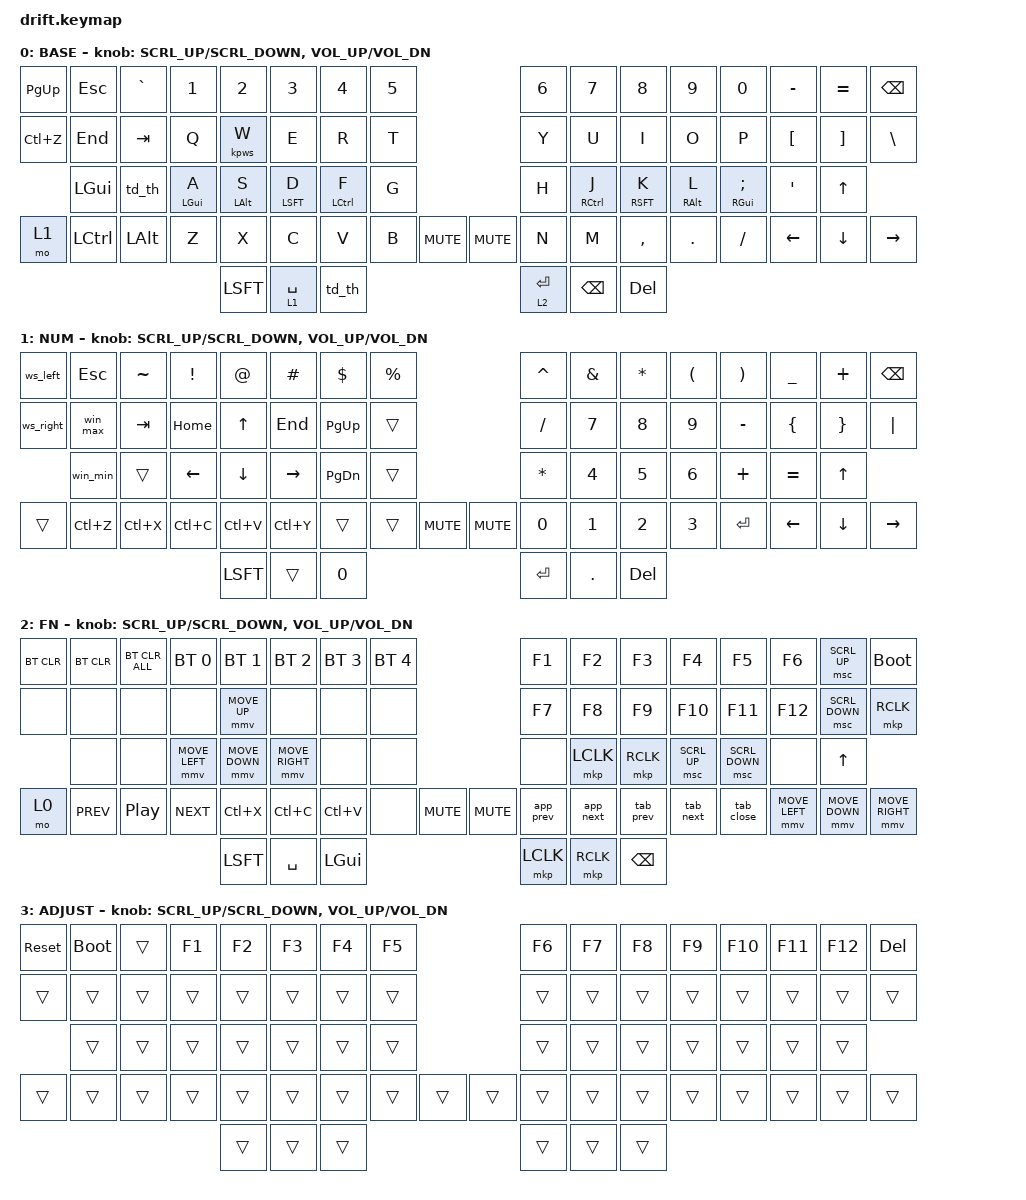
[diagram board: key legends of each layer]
// Copyright (c) 2025 Timception
// SPDX-License-Identifier: MIT

// ─────────────────────────────────────────────────────────────────────────────
//  DRIFT KEYMAP  —  Efficiency Edition  (EN/TH · KDE Plasma · Linux)
//
//  ╔═══════════════════════════════════════════════════════════════════════╗
//  ║                    วิธีจำง่ายๆ — 3 Layer 3 หลัก                      ║
//  ╠═══════════════════════════════════════════════════════════════════════╣
//  ║                                                                     ║
//  ║  BASE   = พิมพ์ปกติ + ลูกศรขวาล่าง + สลับไทย/EN ที่ CAPS          ║
//  ║  LOWER  = "ตัวเลข + เลื่อน"  (Space ค้าง)                          ║
//  ║          ↳ มือซ้าย = ลูกศร/Home/End  ·  มือขวา = Numpad            ║
//  ║  RAISE  = "F-keys + เมาส์"  (Enter ค้าง)                           ║
//  ║          ↳ มือซ้าย = เมาส์/BT  ·  มือขวา = F1-F12                 ║
//  ║                                                                     ║
//  ║  จำสั้นๆ:  Space=ตัวเลข  ·  Enter=Function  ·  CAPS=ไทย           ║
//  ╚═══════════════════════════════════════════════════════════════════════╝
//
//  HOME ROW MODS  (กดค้าง = modifier, แตะ = ตัวอักษร)
//  ──────────────
//  ซ้าย:  A=Super  S=Alt  D=Shift  F=Ctrl
//  ขวา:   J=Ctrl   K=Shift L=Alt   ;=Super
//  → ไม่ต้องเอื้อมนิ้วก้อยไปมุมแป้นอีกต่อไป
//
//  THAI TOGGLE  (KDE Plasma)
//  ────────────
//  ตำแหน่ง CAPS (row-2 col-2):
//    กด 1 ครั้ง = สลับ ไทย↔EN  (ส่ง Meta+Space — KDE default)
//    กด 2 ครั้ง = CapsLock     (เผื่อต้องการพิมพ์ตัวใหญ่)
//  ซ้ำที่ left outer thumb เพื่อกดนิ้วโป้งมือเดียว
//
//  ⚠ ถ้าใช้ fcitx5 ให้เปลี่ยน macro th จาก LG(SPACE) เป็น LC(SPACE)
//
//  THUMB CLUSTER
//  ─────────────
//  ซ้าย:  Shift  ·  [Space / LOWER]  ·  Thai
//  ขวา:  [Enter / RAISE]  ·  Bspc  ·  Del
//
//  WORKSPACE NAV  (LOWER layer, far-left col)
//  ──────────────
//  Meta+← / Meta+→ = สลับ desktop ซ้าย/ขวา (KDE default)
//  Meta+↑ / Meta+↓ = maximize / minimize  
//
//  Key-position reference (0-based)
//  ─────────────────────────────────
//  Row 0 : 0-15   (8 left incl. far-left extra col  +  8 right)
//  Row 1 : 16-31  (8 + 8)
//  Row 2 : 32-45  (7 + 7 — no far-left key on this row)
//  Row 3 : 46-61  (8 + 8)
//  Thumbs: 62-67  (3 left + 3 right)
//
//  Left side keys  : 0-7  16-23  32-38  46-53  62-64
//  Right side keys : 8-15 24-31  39-45  54-61  65-67
// ─────────────────────────────────────────────────────────────────────────────

#define ZMK_POINTING_DEFAULT_MOVE_VAL 1200
#define ZMK_POINTING_DEFAULT_SCRL_VAL 120

#include <dt-bindings/zmk/mouse.h>
#include <behaviors.dtsi>
#include <dt-bindings/zmk/bt.h>
#include <dt-bindings/zmk/keys.h>
#include <dt-bindings/zmk/pointing.h>

#define BASE   0
#define LOWER  1
#define RAISE  2
#define ADJUST 3

// ── Per-side key sets for home-row mod trigger guards ─────────────────────────
#define KEYS_L 0 1 2 3 4 5 6 7 16 17 18 19 20 21 22 23 32 33 34 35 36 37 38 46 47 48 49 50 51 52 53
#define KEYS_R 8 9 10 11 12 13 14 15 24 25 26 27 28 29 30 31 39 40 41 42 43 44 45 54 55 56 57 58 59 60 61
#define KEYS_T 62 63 64 65 66 67

/ {
    conditional_layers {
        compatible = "zmk,conditional-layers";

        tri_layer {
            if-layers = <1 2>;
            then-layer = <3>;
        };
    };

    // ── Macros ───────────────────────────────────────────────────────────────
    macros {
        // Thai/EN toggle — Meta+Space (KDE Plasma default)
        // ┌──────────────────────────────────────────────────────────────┐
        // │  ถ้าใช้ fcitx5  → เปลี่ยน LG(SPACE) เป็น LC(SPACE)        │
        // │  ถ้าใช้ ibus    → เปลี่ยน LG(SPACE) เป็น LC(SPACE)        │
        // │  ถ้าตั้ง custom → ใส่ shortcut ที่ตรงกับ Settings          │
        // └──────────────────────────────────────────────────────────────┘
        th: thai_toggle {
            compatible = "zmk,behavior-macro";
            #binding-cells = <0>;
            bindings = <&macro_tap &kp LG(SPACE)>;
        };

        // KDE workspace navigation macros
        ws_left: workspace_left {
            compatible = "zmk,behavior-macro";
            #binding-cells = <0>;
            bindings = <&macro_tap &kp LG(LEFT)>;
        };
        ws_right: workspace_right {
            compatible = "zmk,behavior-macro";
            #binding-cells = <0>;
            bindings = <&macro_tap &kp LG(RIGHT)>;
        };
        win_max: window_maximize {
            compatible = "zmk,behavior-macro";
            #binding-cells = <0>;
            bindings = <&macro_tap &kp LG(UP)>;
        };
        win_min: window_minimize {
            compatible = "zmk,behavior-macro";
            #binding-cells = <0>;
            bindings = <&macro_tap &kp LG(DOWN)>;
        };

        // Keyboard-first navigation helpers (mouse-free workflow)
        app_next: app_switch_next {
            compatible = "zmk,behavior-macro";
            #binding-cells = <0>;
            bindings = <&macro_tap &kp LA(TAB)>;
        };
        app_prev: app_switch_prev {
            compatible = "zmk,behavior-macro";
            #binding-cells = <0>;
            bindings = <&macro_tap &kp LA(LS(TAB))>;
        };
        tab_next: tab_switch_next {
            compatible = "zmk,behavior-macro";
            #binding-cells = <0>;
            bindings = <&macro_tap &kp LC(TAB)>;
        };
        tab_prev: tab_switch_prev {
            compatible = "zmk,behavior-macro";
            #binding-cells = <0>;
            bindings = <&macro_tap &kp LC(LS(TAB))>;
        };
        tab_close: tab_close {
            compatible = "zmk,behavior-macro";
            #binding-cells = <0>;
            bindings = <&macro_tap &kp LC(W)>;
        };
    };

    behaviors {
        enc_scroll: enc_scroll {
            compatible = "zmk,behavior-sensor-rotate-var";
            #sensor-binding-cells = <2>;
            bindings = <&msc>, <&msc>;
            tap-ms = <20>;
        };

        /* WASD gaming behaviour — kept from original */
        kpad: key_lip_a_d {
            compatible = "zmk,behavior-key-press-lip";
            #binding-cells = <1>;
            keycodes = <A D>;
        };

        kpws: key_lip_w_s {
            compatible = "zmk,behavior-key-press-lip";
            #binding-cells = <1>;
            keycodes = <W S>;
        };

        // ── Home-row mod LEFT ─────────────────────────────────────────────
        //  Fires modifier ONLY when opposite-hand key is pressed.
        //  Fast same-hand rolls ("as", "sd", "df") → ตัวอักษรปกติ
        //  Cross-hand combos (A + J) → GUI + Ctrl
        //  Tuned for smoother Thai/EN mixed typing (less accidental holds).
        hml: homerow_mod_left {
            compatible = "zmk,behavior-hold-tap";
            #binding-cells = <2>;
            flavor = "balanced";
            tapping-term-ms = <240>;
            quick-tap-ms = <175>;
            require-prior-idle-ms = <130>;
            bindings = <&kp>, <&kp>;
            hold-trigger-key-positions = <KEYS_R KEYS_T>;
            hold-trigger-on-release;
        };

        // ── Home-row mod RIGHT ────────────────────────────────────────────
        hmr: homerow_mod_right {
            compatible = "zmk,behavior-hold-tap";
            #binding-cells = <2>;
            flavor = "balanced";
            tapping-term-ms = <240>;
            quick-tap-ms = <175>;
            require-prior-idle-ms = <130>;
            bindings = <&kp>, <&kp>;
            hold-trigger-key-positions = <KEYS_L KEYS_T>;
            hold-trigger-on-release;
        };

        // ── Balanced layer-tap for thumb keys ─────────────────────────────
        ltb: layer_tap_balanced {
            compatible = "zmk,behavior-hold-tap";
            #binding-cells = <2>;
            flavor = "balanced";
            tapping-term-ms = <190>;
            quick-tap-ms = <175>;
            bindings = <&mo>, <&kp>;
        };

        // ── Tap-dance: Thai toggle ────────────────────────────────────────
        //  กด 1 ครั้ง = สลับภาษา (Meta+Space)
        //  กด 2 ครั้ง = CapsLock  (พิมพ์ตัวใหญ่)
        td_th: tap_dance_thai {
            compatible = "zmk,behavior-tap-dance";
            #binding-cells = <0>;
            tapping-term-ms = <250>;
            bindings = <&th>, <&kp CAPS>;
        };
    };

    combos {
        compatible = "zmk,combos";

        // CapsWord: press both SHIFT positions (D=36 and K=41) simultaneously
        caps_word_combo {
            bindings = <&caps_word>;
            key-positions = <36 41>;
            timeout-ms = <50>;
        };
    };

    keymap {
        compatible = "zmk,keymap";

        // ╔══════════════════════════════════════════════════════════════════╗
        // ║  LAYER 0 — BASE  "พิมพ์ปกติ"                                    ║
        // ║                                                                  ║
        // ║  CAPS position → กด1ครั้ง=สลับไทย  กด2ครั้ง=CapsLock          ║
        // ║  Home-row mods: A=⌘  S=⌥  D=⇧  F=⌃  │  J=⌃  K=⇧  L=⌥  ;=⌘   ║
        // ║  Thumbs: Shift · [Space/LOWER] · Thai │ [Enter/RAISE] · ⌫ · Del ║
        // ╚══════════════════════════════════════════════════════════════════╝
        default_layer {
            display-name = "BASE";

            // ┌─────────┬───────┬──────┬────┬────┬────┬────┬────┐                    ┌────┬────┬────┬────┬────┬───────┬───────┬────────┐
            // │ PG_UP   │  ESC  │  `   │ 1  │ 2  │ 3  │ 4  │ 5  │                    │ 6  │ 7  │ 8  │ 9  │ 0  │   -   │   =   │  BSPC  │
            // ├─────────┼───────┼──────┼────┼────┼────┼────┼────┤                    ├────┼────┼────┼────┼────┼───────┼───────┼────────┤
            // │ UNDO    │  END  │ TAB  │ Q  │ W  │ E  │ R  │ T  │                    │ Y  │ U  │ I  │ O  │ P  │   [   │   ]   │   \    │
            // ├─────────┼───────┼──────┼────┼────┼────┼────┼────┤                    ├────┼────┼────┼────┼────┼───────┼───────┘
            // │         │ SUPER │ ไทย  │ A⌘ │ S⌥ │ D⇧ │ F⌃ │ G  │                    │ H  │ J⌃ │ K⇧ │ L⌥ │ ;⌘ │   '   │  UP   │
            // ├─────────┼───────┼──────┼────┼────┼────┼────┼────┼────────┐  ┌────────┼────┼────┼────┼────┼────┼───────┼────────┼────────┤
            // │ LOWER   │ CTRL  │ ALT  │ Z  │ X  │ C  │ V  │ B  │  MUTE  │  │  MUTE  │ N  │ M  │ ,  │ .  │ /  │   ←   │   ↓   │   →    │
            // └─────────┴───────┴──────┴────┴────┴────┴────┴────┴────────┘  └────────┴────┴────┴────┴────┴────┴───────┴────────┴────────┘
            //                                ┌───────┬──────────────┬──────┐         ┌───────────────┬──────┬─────┐
            //                                │ SHIFT │ [Space/LOWER]│ ไทย  │         │ [Enter/RAISE] │ BSPC │ DEL │
            //                                └───────┴──────────────┴──────┘         └───────────────┴──────┴─────┘

            bindings = <
&kp PG_UP   &kp ESC    &kp GRAVE  &kp N1          &kp N2          &kp N3          &kp N4         &kp N5                                    &kp N6          &kp N7          &kp N8          &kp N9          &kp N0           &kp MINUS       &kp EQUAL       &kp BSPC
&kp LC(Z)   &kp END    &kp TAB    &kp Q           &kpws W         &kp E           &kp R          &kp T                                     &kp Y           &kp U           &kp I           &kp O           &kp P            &kp LBKT        &kp RBKT        &kp BSLH
            &kp LGUI   &td_th     &hml LGUI A     &hml LALT S     &hml LSFT D     &hml LCTRL F   &kp G                                     &kp H           &hmr RCTRL J    &hmr RSFT K     &hmr RALT L     &hmr RGUI SEMI   &kp SQT         &kp UP_ARROW
&mo 1       &kp LCTRL  &kp LALT   &kp Z           &kp X           &kp C           &kp V          &kp B          &kp C_MUTE   &kp C_MUTE    &kp N           &kp M           &kp COMMA       &kp DOT         &kp FSLH         &kp LEFT_ARROW  &kp DOWN_ARROW  &kp RIGHT_ARROW
                                                  &kp LSFT        &ltb 1 SPACE    &td_th                                                    &ltb 2 ENTER    &kp BSPC        &kp DEL
            >;

            sensor-bindings =
                <&enc_scroll SCRL_UP SCRL_DOWN>,
                <&inc_dec_kp C_VOL_UP C_VOL_DN>;
        };

        // ╔══════════════════════════════════════════════════════════════════╗
        // ║  LAYER 1 — LOWER  "ตัวเลข + เลื่อน"  (Space ค้าง)              ║
        // ║                                                                  ║
        // ║  วิธีจำ:  มือซ้าย = เลื่อน (ลูกศรอยู่ที่เดิมของ WASD)        ║
        // ║           มือขวา = Numpad  (789/456/123/0.)                     ║
        // ║  Number row = Shifted symbols  (! @ # $ % ^ & * ( ))            ║
        // ║  Far-left = Desktop nav (Meta+← →) & Undo/Cut/Copy/Paste       ║
        // ╚══════════════════════════════════════════════════════════════════╝
        lower_layer {
            display-name = "NUM";

            // ┌──────────┬────────┬───────┬──────┬──────┬──────┬──────┬──────┐                    ┌──────┬────┬────┬────┬──────┬───────┬───────┬──────┐
            // │ WS ←     │  ESC   │   ~   │  !   │  @   │  #   │  $   │  %   │                    │  ^   │ &  │ *  │ (  │  )   │   _   │   +   │ BSPC │
            // ├──────────┼────────┼───────┼──────┼──────┼──────┼──────┼──────┤                    ├──────┼────┼────┼────┼──────┼───────┼───────┼──────┤
            // │ WS →     │ WIN ↑  │  TAB  │ HOME │  ↑   │ END  │PG_UP │      │                    │  /   │ 7  │ 8  │ 9  │  -   │   {   │   }   │  |   │
            // ├──────────┼────────┼───────┼──────┼──────┼──────┼──────┼──────┤                    ├──────┼────┼────┼────┼──────┼───────┼───────┘
            // │          │ WIN ↓  │ trans │  ←   │  ↓   │  →   │PG_DN │      │                    │  *   │ 4  │ 5  │ 6  │  +   │   =   │  UP  │
            // ├──────────┼────────┼───────┼──────┼──────┼──────┼──────┼──────┼────────┐  ┌────────┼──────┼────┼────┼────┼──────┼───────┼────────┼──────┤
            // │  trans   │ UNDO   │  CUT  │ COPY │PASTE │REDO  │      │      │  MUTE  │  │  MUTE  │  0   │ 1  │ 2  │ 3  │ ENTR │   ←   │   ↓   │  →   │
            // └──────────┴────────┴───────┴──────┴──────┴──────┴──────┴──────┴────────┘  └────────┴──────┴────┴────┴────┴──────┴───────┴────────┴──────┘
            //                                   ┌───────┬──────┬──────┐                  ┌──────┬──────┬──────┐
            //                                   │ SHIFT │ HOLD │  0   │                  │ ENTR │  .   │ DEL  │
            //                                   └───────┴──────┴──────┘                  └──────┴──────┴──────┘

            bindings = <
&ws_left     &kp ESC     &kp TILDE  &kp EXCL    &kp AT      &kp HASH    &kp DLLR    &kp PRCNT                               &kp CARET   &kp AMPS   &kp STAR    &kp LPAR    &kp RPAR  &kp UNDER  &kp PLUS       &kp BSPC
&ws_right    &win_max    &kp TAB    &kp HOME    &kp UP      &kp END     &kp PG_UP   &trans                                  &kp SLASH   &kp N7     &kp N8      &kp N9      &kp MINUS &kp LBRC   &kp RBRC       &kp PIPE
             &win_min    &trans     &kp LEFT    &kp DOWN    &kp RIGHT   &kp PG_DN   &trans                                  &kp STAR    &kp N4     &kp N5      &kp N6      &kp PLUS  &kp EQUAL  &kp UP
&trans       &kp LC(Z)   &kp LC(X)  &kp LC(C)   &kp LC(V)   &kp LC(Y)   &trans      &trans      &kp C_MUTE   &kp C_MUTE    &kp N0      &kp N1     &kp N2      &kp N3      &kp ENTER &kp LEFT   &kp DOWN       &kp RIGHT
                                                &kp LSFT    &trans      &kp N0                                              &kp ENTER   &kp DOT    &kp DEL
            >;

            sensor-bindings =
                <&enc_scroll SCRL_UP SCRL_DOWN>,
                <&inc_dec_kp C_VOL_UP C_VOL_DN>;
        };

        // ╔══════════════════════════════════════════════════════════════════╗
        // ║  LAYER 2 — RAISE  "F-keys + เมาส์"  (Enter ค้าง)               ║
        // ║                                                                  ║
        // ║  วิธีจำ:  มือซ้าย = เมาส์ WASD-style + BT                     ║
        // ║           มือขวา = F1-F12 + HJKL click/scroll + NM,./ app/tab   ║
        // ║  ลดการเอื้อมนิ้วก้อยขวา เพิ่มความสมดุลสองมือ                  ║
        // ║  Far-left bottom = media controls (prev/play/next)              ║
        // ╚══════════════════════════════════════════════════════════════════╝
        raise_layer {
            display-name = "FN";

            // ┌──────────┬────────┬──────────┬────────┬────────┬────────┬────────┬────────┐                    ┌──────┬──────┬──────┬──────┬──────┬──────┬───────────┬───────────┐
            // │ BT_CLR   │BT_CLR  │BT_CLR_ALL│  BT0   │  BT1   │  BT2   │  BT3   │  BT4   │                    │  F1  │  F2  │  F3  │  F4  │  F5  │  F6  │ SCRL_UP   │ BOOTLOAD  │
            // ├──────────┼────────┼──────────┼────────┼────────┼────────┼────────┼────────┤                    ├──────┼──────┼──────┼──────┼──────┼──────┼───────────┼───────────┤
            // │  none    │  none  │   none   │  none  │ M_UP   │  none  │  none  │  none  │                    │  F7  │  F8  │  F9  │ F10  │ F11  │ F12  │ SCRL_DN   │ R_CLICK   │
            // ├──────────┼────────┼──────────┼────────┼────────┼────────┼────────┼────────┤                    ├──────┼──────┼──────┼──────┼──────┼──────┼───────────┘
            // │          │  none  │   none   │ M_LEFT │ M_DOWN │M_RIGHT │  none  │  none  │                    │none │LCLK │RCLK │SC↑  │SC↓  │ none │  M_UP     │
            // ├──────────┼────────┼──────────┼────────┼────────┼────────┼────────┼────────┼────────┐  ┌────────┼──────┼──────┼──────┼──────┼──────┼──────┼───────────┼───────────┤
            // │  BASE    │ C_PREV │  C_PP    │ C_NEXT │  CUT   │  COPY  │ PASTE  │  none  │  MUTE  │  │  MUTE  │App← │App→ │Tab← │Tab→ │TCLS │M_LFT │  M_DOWN   │  M_RIGHT  │
            // └──────────┴────────┴──────────┴────────┴────────┴────────┴────────┴────────┴────────┘  └────────┴──────┴──────┴──────┴──────┴──────┴──────┴───────────┴───────────┘
            //                                               ┌────────┬──────────┬────────┐           ┌────────┬──────────┬──────┐
            //                                               │ SHIFT  │  SPACE   │  LGUI  │           │ L_CLK  │  R_CLK   │ BSPC │
            //                                               └────────┴──────────┴────────┘           └────────┴──────────┴──────┘

            bindings = <
&bt BT_CLR   &bt BT_CLR   &bt BT_CLR_ALL  &bt BT_SEL 0    &bt BT_SEL 1    &bt BT_SEL 2     &bt BT_SEL 3   &bt BT_SEL 4                                  &kp F1    &kp F2    &kp F3    &kp F4    &kp F5    &kp F6    &msc SCRL_UP    &bootloader
&none        &none        &none           &none           &mmv MOVE_UP    &none            &none          &none                                         &kp F7    &kp F8    &kp F9    &kp F10   &kp F11   &kp F12   &msc SCRL_DOWN  &mkp RCLK
             &none        &none           &mmv MOVE_LEFT  &mmv MOVE_DOWN  &mmv MOVE_RIGHT  &none          &none                                         &none     &mkp LCLK &mkp RCLK &msc SCRL_UP &msc SCRL_DOWN &none  &kp UP_ARROW
&mo 0        &kp C_PREV   &kp C_PP        &kp C_NEXT      &kp LC(X)       &kp LC(C)        &kp LC(V)      &none          &kp C_MUTE    &kp C_MUTE       &app_prev &app_next &tab_prev &tab_next &tab_close &mmv MOVE_LEFT &mmv MOVE_DOWN &mmv MOVE_RIGHT
                                                          &kp LSFT        &kp SPACE        &kp LGUI                                                     &mkp LCLK &mkp RCLK &kp BSPC
            >;

            sensor-bindings =
                <&enc_scroll SCRL_UP SCRL_DOWN>,
                <&inc_dec_kp C_VOL_UP C_VOL_DN>;
        };

        // ╔══════════════════════════════════════════════════════════════════╗
        // ║  LAYER 3 — ADJUST  (LOWER + RAISE simultaneously)               ║
        // ║  System level: bootloader / reset / macro slots                 ║
        // ╚══════════════════════════════════════════════════════════════════╝
        adjust_layer {
            display-name = "ADJUST";

            bindings = <
&sys_reset  &bootloader  &trans  &kp F1  &kp F2  &kp F3  &kp F4  &kp F5              &kp F6  &kp F7  &kp F8  &kp F9  &kp F10  &kp F11  &kp F12  &kp DEL
&trans      &trans       &trans  &trans  &trans  &trans  &trans  &trans               &trans  &trans  &trans  &trans  &trans   &trans   &trans   &trans
            &trans       &trans  &trans  &trans  &trans  &trans  &trans               &trans  &trans  &trans  &trans  &trans   &trans   &trans
&trans      &trans       &trans  &trans  &trans  &trans  &trans  &trans  &trans &trans &trans  &trans  &trans  &trans  &trans   &trans   &trans   &trans
                                         &trans  &trans  &trans                        &trans  &trans  &trans
            >;

            sensor-bindings =
                <&enc_scroll SCRL_UP SCRL_DOWN>,
                <&inc_dec_kp C_VOL_UP C_VOL_DN>;
        };
    };
};
